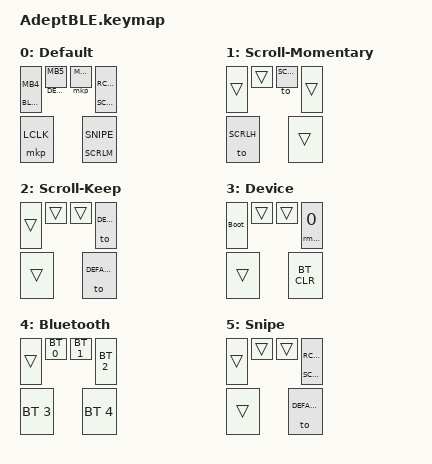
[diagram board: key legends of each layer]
#include <behaviors.dtsi>
#include <behaviors/runtime_macro.dtsi>
#include <dt-bindings/zmk/bt.h>
#include <dt-bindings/zmk/keys.h>
#include <dt-bindings/zmk/pointing.h>
#include <dt-bindings/zmk/outputs.h>
#include <zephyr/dt-bindings/input/input-event-codes.h>

// #include <dt-bindings/zmk/mouse.h>

#define DEFAULT 0
#define SCRLM 1
#define SCRLH 2
#define DEVICE 3
#define BLTH 4
#define SNIPE 5

/ {
  combos {
    compatible = "zmk,combos";
    combo_esc {
      timeout-ms = <50>;
      key-positions = <2 3>;
      bindings = <&mkp RCLK>;
    };
  };
  behaviors {
    ltm: layer-tap-momentary {
      compatible = "zmk,behavior-hold-tap";
      #binding-cells = <2>;
      flavor = "tap-preferred";
      tapping-term-ms = <200>;
      bindings = <&mo>, <&mkp>;
    };
    lth: layer-tap-hold-while-undecided {
      compatible = "zmk,behavior-hold-tap";
      #binding-cells = <2>;
      flavor = "hold-preferred";
      hold-while-undecided;
      tapping-term-ms = <150>;
      bindings = <&mo>, <&mkp>;
    };
    mto: momentary-or-toggle {
      compatible = "zmk,behavior-hold-tap";
      #binding-cells = <2>;
      flavor = "hold-preferred";
      hold-while-undecided;
      tapping-term-ms = <200>;
      bindings = <&mo>, <&to>;
    };
  };
  keymap {
    compatible = "zmk,keymap";
    default_layer {
      display-name = "Default";
      bindings = <
        &ltm BLTH MB4 &ltm DEVICE MB5 &mkp MCLK &lth SCRLM RCLK
        &mkp LCLK                               &mto SCRLM SNIPE
      >;
    };
    scroll_tap_layer {
      display-name = "Scroll-Momentary";
      bindings = <
        &trans &trans &to SCRLH &trans
        &to SCRLH               &trans
      >;
    };
    scroll_hold_layer {
      display-name = "Scroll-Keep";
      bindings = <
        &trans &trans &trans &to DEFAULT
        &trans               &to DEFAULT
      >;
    };
    device_layer {
      display-name = "Device";
      // Hold the DEVICE key to reach these: k3 = play runtime macro 0
      // (created in DYA Studio; an empty slot does nothing). There is no
      // &studio_unlock binding on purpose: locking is disabled, so the
      // keyboard is always unlocked.
      bindings = <
        &bootloader &trans &trans &rmacro 0
        &trans                       &bt BT_CLR
      >;
    };
    bluetooth_layer {
      display-name = "Bluetooth";
      bindings = <
        &trans &bt BT_SEL 0 &bt BT_SEL 1 &bt BT_SEL 2
        &bt BT_SEL 3                     &bt BT_SEL 4
      >;
    };
    snipe_layer {
      display-name = "Snipe";
      bindings = <
        &trans &trans &trans &lth SCRLM RCLK
        &trans               &to DEFAULT
      >;
    };
  };
};

// ---------------------------------------------------------------------------
// Trackball runtime input processors (DYA Studio "Trackball" tab)
//
// The defaults live in <input/processors/runtime-input-processor.dtsi>; only
// the behaviour that is specific to this keyboard is set here. Everything else
// (speed, rotation, axis snap, inertia, ...) can be changed from DYA Studio
// and is stored in the keyboard's settings.
//
// mouse_runtime_input_processor is deliberately left at its defaults (1:1
// scaling, no rotation), which matches the static processor chain it replaced.
// ---------------------------------------------------------------------------

&scroll_runtime_input_processor {
    // The processor receives raw XY movement and converts it to wheel events.
    x-codes = <INPUT_REL_X>;
    y-codes = <INPUT_REL_Y>;
    xy-to-scroll-enabled;
    // Preserves the previous 1/10 scroll scaling; adjustable in DYA Studio.
    scale-divisor = <10>;
    axis-snap-threshold = <100>;
    // Only on layers 1 (SCRLM) and 2 (SCRLH), as a bitmask.
    active-layers = <0x00000006>;
};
